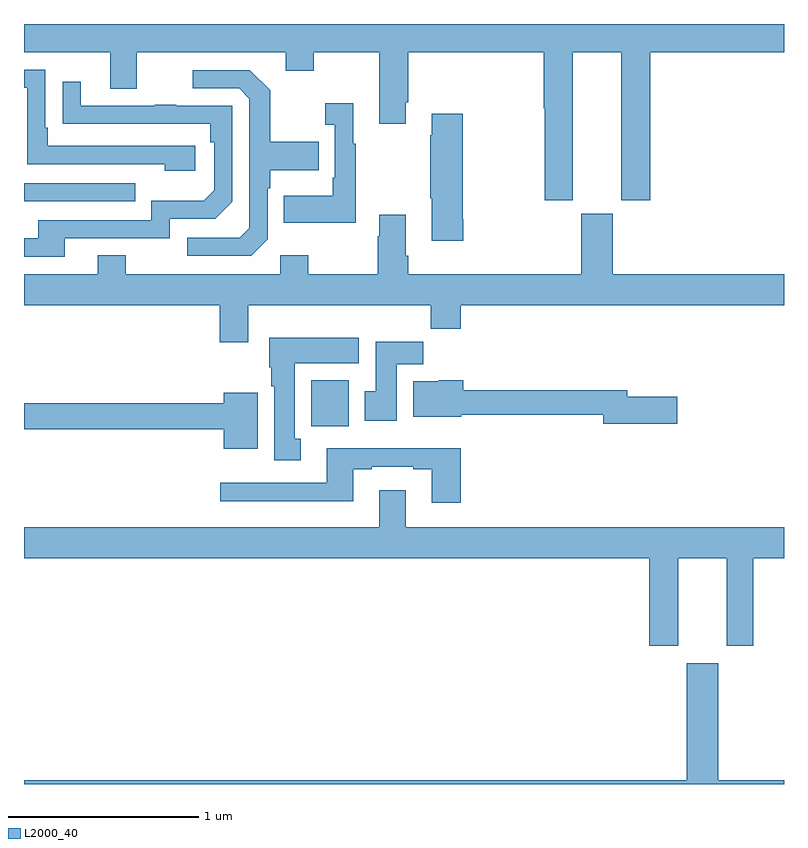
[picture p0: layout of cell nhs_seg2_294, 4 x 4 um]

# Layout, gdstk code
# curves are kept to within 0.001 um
import gdstk
lib = gdstk.Library(unit=1e-6, precision=1e-09)
def R(c, l, rs):  # rectangles x0, y0, x1, y1
    for r in rs: c.add(gdstk.rectangle(r[:2], r[2:], *l))
def P(c, l, *ps):  # polygons
    for p in ps: c.add(gdstk.Polygon(p, *l))
L2000_40 = (2000, 40)

nhs_seg2_294 = lib.new_cell('nhs_seg2_294')
R(nhs_seg2_294, L2000_40, [(126.512,629.684,126.709,629.926), (125,630.867,125.585,630.963)])
P(nhs_seg2_294, L2000_40, [(127.888,631.652),(128.144,631.652),(128.144,630.873),(128.297,630.873),(128.297,631.652),(129,631.652),(129,631.8),(125,631.8),(125,631.652),(125.453,631.652),(125.453,631.458),(125.593,631.458),(125.593,631.652),(126.377,631.652),(126.377,631.553),(126.525,631.553),(126.525,631.652),(126.869,631.652),(126.869,631.275),(127.009,631.275),(127.009,631.387),(127.022,631.387),(127.022,631.652),(127.736,631.652),(127.736,631.356),(127.741,631.356),(127.741,630.873),(127.888,630.873)],
  [(125.902,631.158),(125.125,631.158),(125.125,631.255),(125.112,631.255),(125.112,631.56),(125,631.56),(125,631.464),(125.016,631.464),(125.016,631.062),(125.741,631.062),(125.741,631.028),(125.902,631.028)],
  [(126.282,630.666),(126.282,630.935),(126.295,630.935),(126.295,631.031),(126.551,631.031),(126.551,631.179),(126.295,631.179),(126.295,631.451),(126.189,631.557),(125.889,631.557),(125.889,631.461),(126.132,631.461),(126.186,631.407),(126.186,630.726),(126.135,630.675),(125.859,630.675),(125.859,630.579),(126.195,630.579)],
  [(125.215,630.672),(125.766,630.672),(125.766,630.774),(126.006,630.774),(126.096,630.864),(126.096,631.371),(125.801,631.371),(125.801,631.376),(125.689,631.376),(125.689,631.371),(125.299,631.371),(125.299,631.495),(125.203,631.495),(125.203,631.276),(125.98,631.275),(125.98,631.178),(126,631.178),(126,630.924),(125.947,630.871),(125.67,630.871),(125.67,630.768),(125.075,630.768),(125.075,630.672),(125,630.672),(125,630.576),(125.215,630.576)],
  [(126.745,631.171),(126.733,631.171),(126.733,631.384),(126.585,631.384),(126.585,631.271),(126.636,631.271),(126.636,630.991),(126.624,630.991),(126.624,630.895),(126.367,630.895),(126.367,630.755),(126.745,630.755)],
  [(127.313,630.772),(127.308,630.772),(127.308,631.327),(127.145,631.327),(127.145,631.214),(127.138,631.214),(127.138,630.883),(127.145,630.883),(127.145,630.66),(127.313,630.66)],
  [(126.181,630.32),(127.141,630.32),(127.141,630.196),(127.298,630.196),(127.298,630.32),(129,630.32),(129,630.484),(128.098,630.484),(128.098,630.801),(127.934,630.801),(127.934,630.484),(127.022,630.484),(127.022,630.58),(127.009,630.58),(127.009,630.796),(126.869,630.796),(126.869,630.683),(126.862,630.683),(126.862,630.484),(126.495,630.484),(126.495,630.583),(126.348,630.583),(126.348,630.484),(125.535,630.484),(125.535,630.583),(125.387,630.583),(125.387,630.484),(125,630.484),(125,630.32),(126.029,630.32),(126.029,630.126),(126.181,630.126)],
  [(126.457,629.618),(126.424,629.618),(126.424,630.014),(126.763,630.014),(126.763,630.148),(126.29,630.148),(126.29,629.994),(126.302,629.994),(126.302,629.894),(126.317,629.894),(126.317,629.505),(126.457,629.505)],
  [(126.961,630.008),(127.1,630.008),(127.1,630.127),(126.851,630.127),(126.851,629.868),(126.794,629.868),(126.794,629.712),(126.961,629.712)],
  [(128.437,629.838),(128.176,629.838),(128.176,629.872),(127.313,629.872),(127.313,629.926),(127.182,629.926),(127.182,629.92),(127.049,629.92),(127.049,629.732),(127.3,629.732),(127.3,629.743),(128.048,629.743),(128.048,629.696),(128.437,629.696)],
  [(126.229,629.86),(126.05,629.86),(126.05,629.804),(125,629.804),(125,629.668),(126.05,629.668),(126.05,629.564),(126.229,629.564)],
  [(127.298,629.566),(126.593,629.566),(126.593,629.385),(126.033,629.385),(126.033,629.288),(126.733,629.288),(126.733,629.457),(126.829,629.457),(126.829,629.469),(127.049,629.469),(127.049,629.457),(127.145,629.457),(127.145,629.28),(127.298,629.28)],
  [(128.443,628.988),(128.699,628.988),(128.699,628.527),(128.839,628.527),(128.839,628.988),(129,628.988),(129,629.152),(127.009,629.152),(127.009,629.347),(126.869,629.347),(126.869,629.152),(125,629.152),(125,628.988),(128.291,628.988),(128.291,628.527),(128.443,628.527)],
  [(129,627.82),(128.653,627.82),(128.653,628.435),(128.489,628.435),(128.489,627.82),(125,627.82),(125,627.8),(129,627.8)])

lib.write_gds('nhs_seg2_294.gds')
